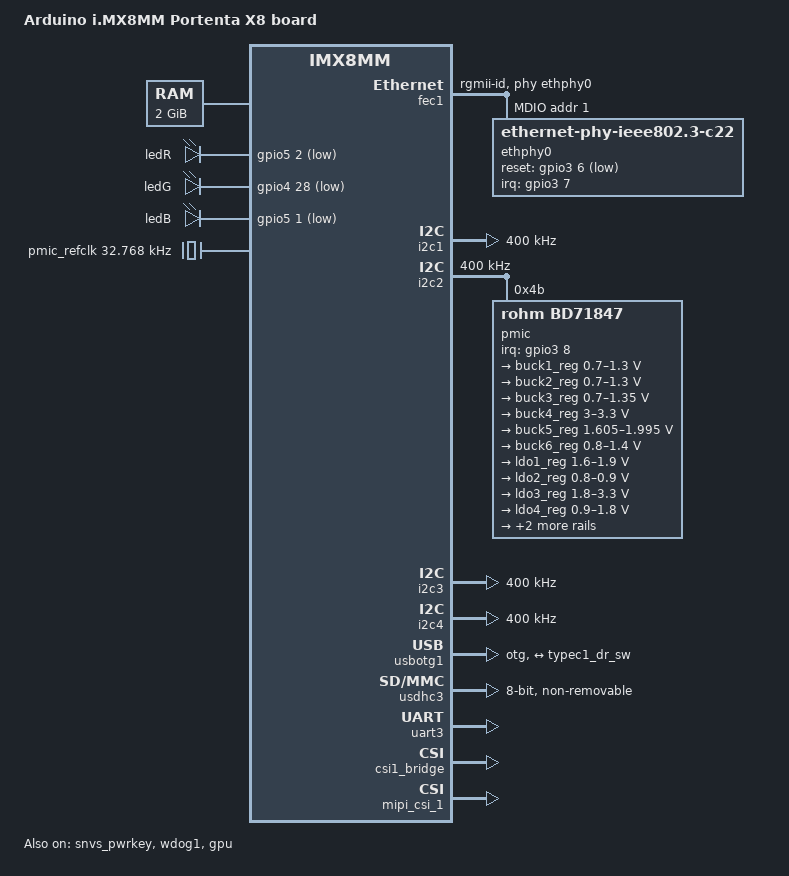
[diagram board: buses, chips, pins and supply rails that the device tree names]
/**
 * Portenta-X8 main device tree file
 * Arduino 2021
 */

/dts-v1/;

#include <dt-bindings/usb/pd.h>
#include "imx8mm.dtsi"
#include "anx7625_base.dtsi"

/ {
	model = "Arduino i.MX8MM Portenta X8 board";

	chosen {
		bootargs = "console=ttymxc2,115200 earlycon=ec_imx6q,0x30880000,115200";
		stdout-path = &uart3;
	};

	memory@40000000 {
		device_type = "memory";
		reg = <0x0 0x40000000 0 0x80000000>;
	};

	leds {
		compatible = "gpio-leds";
		pinctrl-names = "default";
		pinctrl-0 = <&pinctrl_gpio_leds>;

		ledR {
			label = "ledR";
			gpios = <&gpio5 2 GPIO_ACTIVE_LOW>;
			default-state = "off";
		};

		ledG {
			label = "ledG";
			gpios = <&gpio4 28 GPIO_ACTIVE_LOW>;
			default-state = "off";
		};

		ledB {
			label = "ledB";
			gpios = <&gpio5 1 GPIO_ACTIVE_LOW>;
			linux,default-trigger = "heartbeat";
			default-state = "off";
		};
	};

	/* Y2 SIT1532AI */
	pmic_refclk: pmic-refclk {
		compatible = "fixed-clock";
		#clock-cells = <0>;
		clock-frequency = <32768>;
	};
};

&A53_0 {
	cpu-supply = <&buck2_reg>;
};

&A53_1 {
	cpu-supply = <&buck2_reg>;
};

&A53_2 {
	cpu-supply = <&buck2_reg>;
};

&A53_3 {
	cpu-supply = <&buck2_reg>;
};

&fec1 {
	pinctrl-names = "default";
	pinctrl-0 = <&pinctrl_fec1>;
	phy-mode = "rgmii-id";
	phy-handle = <&ethphy0>;
	fsl,magic-packet;
	status = "okay";

	mdio {
		#address-cells = <1>;
		#size-cells = <0>;

		ethphy0: ethernet-phy@0 {
			compatible = "ethernet-phy-ieee802.3-c22";
			reg = <1>;
			interrupt-parent = <&gpio3>;
			interrupts = <7 0>;
			reset-gpios = <&gpio3 6 GPIO_ACTIVE_LOW>;
			reset-assert-us = <100000>;
		};
	};
};

&i2c1 {
	clock-frequency = <400000>;
	pinctrl-names = "default";
	pinctrl-0 = <&pinctrl_i2c1>;
	status = "okay";
};

&i2c2 {
	clock-frequency = <400000>;
	pinctrl-names = "default";
	pinctrl-0 = <&pinctrl_i2c2>;
	status = "okay";

	pmic:pmic@4b {
		compatible = "rohm,bd71847";
		reg = <0x4b>;
		pinctrl-names = "default";
		pinctrl-0 = <&pinctrl_pmic>;
		interrupt-parent = <&gpio3>;
		interrupts = <8 IRQ_TYPE_LEVEL_LOW>;
		rohm,reset-snvs-powered;
		rohm,short-press-ms = <10>;
		rohm,long-press-ms = <3000>;
		rohm,button-keycode = <KEY_HOME>;
		clocks = <&pmic_refclk>;

		regulators {
			buck1_reg: BUCK1 {
				regulator-name = "BUCK1";
				regulator-min-microvolt = <700000>;
				regulator-max-microvolt = <1300000>;
				regulator-boot-on;
				regulator-always-on;
				regulator-ramp-delay = <1250>;
			};

			buck2_reg: BUCK2 {
				regulator-name = "BUCK2";
				regulator-min-microvolt = <700000>;
				regulator-max-microvolt = <1300000>;
				regulator-boot-on;
				regulator-always-on;
				regulator-ramp-delay = <1250>;
				rohm,dvs-run-voltage = <1000000>;
				rohm,dvs-idle-voltage = <900000>;
			};

			buck3_reg: BUCK3 {
				// BUCK5 in datasheet
				regulator-name = "BUCK3";
				regulator-min-microvolt = <700000>;
				regulator-max-microvolt = <1350000>;
				regulator-boot-on;
				regulator-always-on;
			};

			buck4_reg: BUCK4 {
				// BUCK6 in datasheet
				regulator-name = "BUCK4";
				regulator-min-microvolt = <3000000>;
				regulator-max-microvolt = <3300000>;
				regulator-boot-on;
				regulator-always-on;
			};

			buck5_reg: BUCK5 {
				// BUCK7 in datasheet
				regulator-name = "BUCK5";
				regulator-min-microvolt = <1605000>;
				regulator-max-microvolt = <1995000>;
				regulator-boot-on;
				regulator-always-on;
			};

			buck6_reg: BUCK6 {
				// BUCK8 in datasheet
				regulator-name = "BUCK6";
				regulator-min-microvolt = <800000>;
				regulator-max-microvolt = <1400000>;
				regulator-boot-on;
				regulator-always-on;
			};

			ldo1_reg: LDO1 {
				regulator-name = "LDO1";
				regulator-min-microvolt = <1600000>;
				regulator-max-microvolt = <1900000>;
				regulator-boot-on;
				regulator-always-on;
			};

			ldo2_reg: LDO2 {
				regulator-name = "LDO2";
				regulator-min-microvolt = <800000>;
				regulator-max-microvolt = <900000>;
				regulator-boot-on;
				regulator-always-on;
			};

			ldo3_reg: LDO3 {
				regulator-name = "LDO3";
				regulator-min-microvolt = <1800000>;
				regulator-max-microvolt = <3300000>;
				regulator-boot-on;
				regulator-always-on;
			};

			ldo4_reg: LDO4 {
				regulator-name = "LDO4";
				regulator-min-microvolt = <900000>;
				regulator-max-microvolt = <1800000>;
				regulator-boot-on;
				regulator-always-on;
			};

			ldo5_reg: LDO5 {
				regulator-name = "LDO5";
				regulator-min-microvolt = <3000000>;
				regulator-max-microvolt = <3000000>;
				regulator-boot-on;
				regulator-always-on;
			};

			ldo6_reg: LDO6 {
				regulator-name = "LDO6";
				regulator-min-microvolt = <900000>;
				regulator-max-microvolt = <1800000>;
				regulator-boot-on;
				regulator-always-on;
			};
		};
	};
};

&i2c3 {
	clock-frequency = <400000>;
	pinctrl-names = "default";
	pinctrl-0 = <&pinctrl_i2c3>;
	status = "okay";
};

&i2c4 {
	clock-frequency = <400000>;
	pinctrl-names = "default";
	pinctrl-0 = <&pinctrl_i2c4>;
	status = "okay";
};

&snvs_pwrkey {
	status = "okay";
};

&usbotg1 { /* usbc */
	dr_mode = "otg";
	hnp-disable;
	srp-disable;
	adp-disable;
	usb-role-switch;
	disable-over-current;
	samsung,picophy-pre-emp-curr-control = <3>;
	samsung,picophy-dc-vol-level-adjust = <7>;
	status = "okay";

	port {
		usb1_drd_sw: endpoint {
			remote-endpoint = <&typec1_dr_sw>;
		};
	};
};

&usdhc3 { /* emmc flash */
	assigned-clocks = <&clk IMX8MM_CLK_USDHC3_ROOT>;
	assigned-clock-rates = <400000000>;
	pinctrl-names = "default", "state_100mhz", "state_200mhz";
	pinctrl-0 = <&pinctrl_usdhc3>;
	pinctrl-1 = <&pinctrl_usdhc3_100mhz>;
	pinctrl-2 = <&pinctrl_usdhc3_200mhz>;
	bus-width = <8>;
	non-removable;
	status = "okay";
};

&wdog1 {
	pinctrl-names = "default";
	pinctrl-0 = <&pinctrl_wdog>;
	fsl,ext-reset-output;
	status = "okay";
};

&uart3 { /* console */
	pinctrl-names = "default";
	pinctrl-0 = <&pinctrl_uart3>;
	status = "okay";
};

&ecspi1 {
	pinctrl-names = "default";
	pinctrl-0 = <&pinctrl_ecspi1 &pinctrl_ecspi1_cs>;
	num-cs = <1>;
	cs-gpios = <&gpio5 9 GPIO_ACTIVE_LOW>;
	status = "disabled";
};

&ecspi2 {
	pinctrl-names = "default";
	pinctrl-0 = <&pinctrl_ecspi2 &pinctrl_ecspi2_cs>;
	num-cs = <1>;
	cs-gpios = <&gpio5 13 GPIO_ACTIVE_LOW>;
	status = "disabled";
};

&ecspi3 {
	pinctrl-names = "default";
	pinctrl-0 = <&pinctrl_ecspi3 &pinctrl_ecspi3_cs>;
	num-cs = <1>;
	status = "disabled";
};

&csi1_bridge {
	fsl,mipi-mode;
	status = "okay";
};

&mipi_csi_1 {
	#address-cells = <1>;
	#size-cells = <0>;
	status = "okay";
};

&gpu {
	status = "okay";
};

&iomuxc {
	imx8mm {
		pinctrl_fec1: fec1grp {
			fsl,pins = <
				MX8MM_IOMUXC_ENET_MDC_ENET1_MDC			0x3
				MX8MM_IOMUXC_ENET_MDIO_ENET1_MDIO		0x3
				MX8MM_IOMUXC_ENET_TD3_ENET1_RGMII_TD3		0x1f
				MX8MM_IOMUXC_ENET_TD2_ENET1_RGMII_TD2		0x1f
				MX8MM_IOMUXC_ENET_TD1_ENET1_RGMII_TD1		0x1f
				MX8MM_IOMUXC_ENET_TD0_ENET1_RGMII_TD0		0x1f
				MX8MM_IOMUXC_ENET_RD3_ENET1_RGMII_RD3		0x91
				MX8MM_IOMUXC_ENET_RD2_ENET1_RGMII_RD2		0x91
				MX8MM_IOMUXC_ENET_RD1_ENET1_RGMII_RD1		0x91
				MX8MM_IOMUXC_ENET_RD0_ENET1_RGMII_RD0		0x91
				MX8MM_IOMUXC_ENET_TXC_ENET1_RGMII_TXC		0x1f
				MX8MM_IOMUXC_ENET_RXC_ENET1_RGMII_RXC		0x91
				MX8MM_IOMUXC_ENET_RX_CTL_ENET1_RGMII_RX_CTL	0x91
				MX8MM_IOMUXC_ENET_TX_CTL_ENET1_RGMII_TX_CTL	0x1f
				MX8MM_IOMUXC_NAND_DATA00_GPIO3_IO6		0x16
				MX8MM_IOMUXC_NAND_DATA01_GPIO3_IO7		0x41
			>;
		};

		pinctrl_i2c1: i2c1grp {
			fsl,pins = <
				MX8MM_IOMUXC_I2C1_SCL_I2C1_SCL			0x400001c3
				MX8MM_IOMUXC_I2C1_SDA_I2C1_SDA			0x400001c3
			>;
		};

		pinctrl_i2c2: i2c2grp {
			fsl,pins = <
				MX8MM_IOMUXC_I2C2_SCL_I2C2_SCL			0x400001c3
				MX8MM_IOMUXC_I2C2_SDA_I2C2_SDA			0x400001c3
			>;
		};

		pinctrl_i2c3: i2c3grp {
			fsl,pins = <
				MX8MM_IOMUXC_I2C3_SCL_I2C3_SCL			0x400001c3
				MX8MM_IOMUXC_I2C3_SDA_I2C3_SDA			0x400001c3
			>;
		};

		pinctrl_i2c4: i2c4grp {
			fsl,pins = <
				MX8MM_IOMUXC_I2C4_SCL_I2C4_SCL			0x400001c3
				MX8MM_IOMUXC_I2C4_SDA_I2C4_SDA			0x400001c3
			>;
		};

		pinctrl_usdhc3: usdhc3grp {
			fsl,pins = <
				MX8MM_IOMUXC_NAND_WE_B_USDHC3_CLK		0x190
				MX8MM_IOMUXC_NAND_WP_B_USDHC3_CMD		0x1d0
				MX8MM_IOMUXC_NAND_DATA04_USDHC3_DATA0		0x1d0
				MX8MM_IOMUXC_NAND_DATA05_USDHC3_DATA1		0x1d0
				MX8MM_IOMUXC_NAND_DATA06_USDHC3_DATA2		0x1d0
				MX8MM_IOMUXC_NAND_DATA07_USDHC3_DATA3		0x1d0
				MX8MM_IOMUXC_NAND_RE_B_USDHC3_DATA4		0x1d0
				MX8MM_IOMUXC_NAND_CE2_B_USDHC3_DATA5		0x1d0
				MX8MM_IOMUXC_NAND_CE3_B_USDHC3_DATA6		0x1d0
				MX8MM_IOMUXC_NAND_CLE_USDHC3_DATA7		0x1d0
				MX8MM_IOMUXC_NAND_CE1_B_USDHC3_STROBE 		0x190
			>;
		};

		pinctrl_usdhc3_100mhz: usdhc3grp100mhz {
			fsl,pins = <
				MX8MM_IOMUXC_NAND_WE_B_USDHC3_CLK		0x194
				MX8MM_IOMUXC_NAND_WP_B_USDHC3_CMD		0x1d4
				MX8MM_IOMUXC_NAND_DATA04_USDHC3_DATA0		0x1d4
				MX8MM_IOMUXC_NAND_DATA05_USDHC3_DATA1		0x1d4
				MX8MM_IOMUXC_NAND_DATA06_USDHC3_DATA2		0x1d4
				MX8MM_IOMUXC_NAND_DATA07_USDHC3_DATA3		0x1d4
				MX8MM_IOMUXC_NAND_RE_B_USDHC3_DATA4		0x1d4
				MX8MM_IOMUXC_NAND_CE2_B_USDHC3_DATA5		0x1d4
				MX8MM_IOMUXC_NAND_CE3_B_USDHC3_DATA6		0x1d4
				MX8MM_IOMUXC_NAND_CLE_USDHC3_DATA7		0x1d4
				MX8MM_IOMUXC_NAND_CE1_B_USDHC3_STROBE 		0x194
			>;
		};

		pinctrl_usdhc3_200mhz: usdhc3grp200mhz {
			fsl,pins = <
				MX8MM_IOMUXC_NAND_WE_B_USDHC3_CLK		0x196
				MX8MM_IOMUXC_NAND_WP_B_USDHC3_CMD		0x1d6
				MX8MM_IOMUXC_NAND_DATA04_USDHC3_DATA0		0x1d6
				MX8MM_IOMUXC_NAND_DATA05_USDHC3_DATA1		0x1d6
				MX8MM_IOMUXC_NAND_DATA06_USDHC3_DATA2		0x1d6
				MX8MM_IOMUXC_NAND_DATA07_USDHC3_DATA3		0x1d6
				MX8MM_IOMUXC_NAND_RE_B_USDHC3_DATA4		0x1d6
				MX8MM_IOMUXC_NAND_CE2_B_USDHC3_DATA5		0x1d6
				MX8MM_IOMUXC_NAND_CE3_B_USDHC3_DATA6		0x1d6
				MX8MM_IOMUXC_NAND_CLE_USDHC3_DATA7		0x1d6
				MX8MM_IOMUXC_NAND_CE1_B_USDHC3_STROBE 		0x196
			>;
		};

		pinctrl_wdog: wdoggrp {
			fsl,pins = <
				MX8MM_IOMUXC_GPIO1_IO02_WDOG1_WDOG_B		0xc6
			>;
		};

		pinctrl_gpio_leds: gpioledsgrp {
			fsl,pins = <
				MX8MM_IOMUXC_SAI3_MCLK_GPIO5_IO2		0x19
				MX8MM_IOMUXC_SAI3_RXFS_GPIO4_IO28		0x19
				MX8MM_IOMUXC_SAI3_TXD_GPIO5_IO1			0x19
			>;
		};

		pinctrl_pmic: pmicirq {
			fsl,pins = <
				MX8MM_IOMUXC_NAND_DATA02_GPIO3_IO8		0x151
			>;
		};

		/* NOTE: DCE mode not inverted */
		pinctrl_uart3: uart3grp {
			fsl,pins = <
				MX8MM_IOMUXC_UART3_RXD_UART3_DCE_RX		0x140
				MX8MM_IOMUXC_UART3_TXD_UART3_DCE_TX		0x140
			>;
		};

		pinctrl_ecspi1: ecspi1grp {
			fsl,pins = <
				MX8MM_IOMUXC_ECSPI1_SCLK_ECSPI1_SCLK		0x82
				MX8MM_IOMUXC_ECSPI1_MISO_ECSPI1_MISO		0x82
				MX8MM_IOMUXC_ECSPI1_MOSI_ECSPI1_MOSI		0x82
			>;
		};

		pinctrl_ecspi1_cs: ecspi1cs {
			fsl,pins = <
				MX8MM_IOMUXC_ECSPI1_SS0_GPIO5_IO9		0x40000
			>;
		};

		pinctrl_ecspi2: ecspi2grp {
			fsl,pins = <
				MX8MM_IOMUXC_ECSPI2_SCLK_ECSPI2_SCLK		0x82
				MX8MM_IOMUXC_ECSPI2_MOSI_ECSPI2_MOSI		0x82
				MX8MM_IOMUXC_ECSPI2_MISO_ECSPI2_MISO		0x82
			>;
		};

		pinctrl_ecspi2_cs: ecspi2cs {
			fsl,pins = <
				MX8MM_IOMUXC_ECSPI2_SS0_GPIO5_IO13		0x40000
			>;
		};

		pinctrl_ecspi3: ecspi3grp {
			fsl,pins = <
				MX8MM_IOMUXC_UART1_RXD_ECSPI3_SCLK		0x82
				MX8MM_IOMUXC_UART1_TXD_ECSPI3_MOSI		0x82
				MX8MM_IOMUXC_UART2_RXD_ECSPI3_MISO		0x82
			>;
		};

		pinctrl_ecspi3_cs: ecspi3cs {
			fsl,pins = <
				MX8MM_IOMUXC_UART2_TXD_ECSPI3_SS0		0x40000
			>;
		};
	};
};
